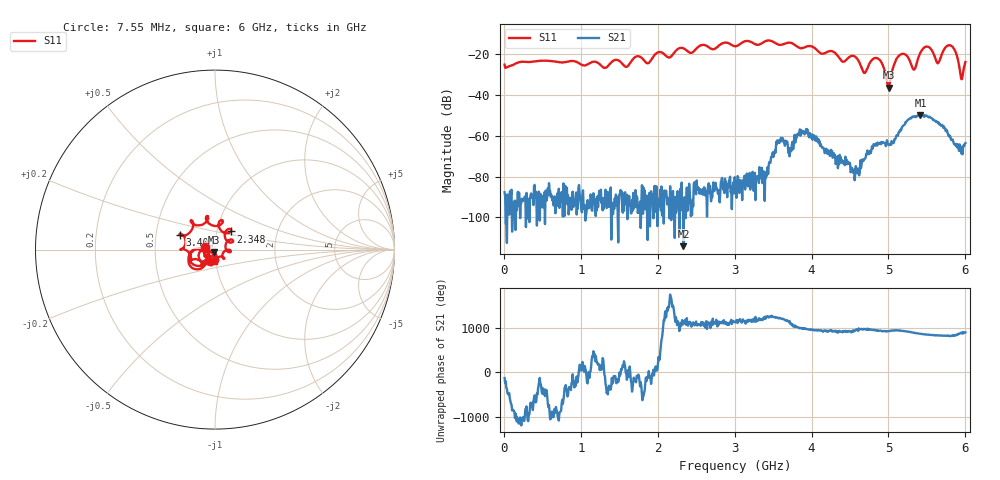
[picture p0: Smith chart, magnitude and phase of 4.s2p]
! NanoVNA-App by OneOfEleven et al v1.1.209 (+OD15)
! Date: 2024-07-30 12:38:55
! Start: 50kHz Stop: 6GHz Points: 801
! S-Parameter data: F S11 S21 S12 S22
# Hz S RI R 50
!  Frequency  S11_Real  S11_Imag  S21_Real  S21_Imag  S12_Real  S12_Imag  S22_Real  S22_Imag
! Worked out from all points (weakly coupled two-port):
!   800 points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, 7.55 MHz to 6 GHz, reference 50 ohm
!   highest |S21| = -49.75 dB at 5.415 GHz (marker M1); lowest = -114.1 dB at 2.333 GHz (marker M2)
!   lowest |S11| = -36.5 dB at 5.003 GHz (marker M3), VSWR 1.03, Z = 49.4 - j1.37 ohm
!   |S11| at or under -10 dB: start of sweep to end of sweep
!   S12 and S22 are empty: the file has one direction only
!   S11 on the Smith chart (normalised r, x): 7.55 MHz: 0.90, +0.03; 2.348 GHz: 1.17, +0.24; 3.405 GHz: 0.67, +0.11; 6 GHz: 0.98, -0.12
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7549938  -0.053 0.0147  -2.58e-05 -3.25e-05  0 0  0 0
1.012542e9  -0.0188 -0.0512  -7.27e-06 1.13e-05  0 0  0 0
2.010033e9  0.0984 0.0532  2.08e-05 -3.93e-06  0 0  0 0
2.332531e9  0.0905 0.1058  1.96e-06 2.55e-07  0 0  0 0
2.34753e9  0.0888 0.101  1.65e-05 2.63e-05  0 0  0 0
3.007525e9  -0.0653 0.1418  3.21e-05 3.59e-05  0 0  0 0
3.405022e9  -0.194 0.0793  -6.75e-05 6.42e-05  0 0  0 0
3.57002e9  -0.1645 0.046  -0.000496 0.000444  0 0  0 0
3.727519e9  -0.1906 0.00207  0.00037 0.000237  0 0  0 0
3.840018e9  -0.1412 -0.0227  0.000129 -0.00113  0 0  0 0
4.005017e9  -0.1396 -0.0636  -0.000474 -0.000971  0 0  0 0
4.590012e9  -0.0379 -0.0683  -6.97e-05 -0.000101  0 0  0 0
4.687511e9  -0.00377 -0.0344  -5.02e-05 -0.000263  0 0  0 0
4.867509e9  -0.0324 -0.0696  -0.000498 -0.000376  0 0  0 0
5.002508e9  -0.00569 -0.0139  -0.000518 -0.000326  0 0  0 0
5.137507e9  -0.0428 -0.0814  -0.000914 -0.000805  0 0  0 0
5.332506e9  -0.0351 -0.0225  -0.00291 0.00034  0 0  0 0
5.415005e9  -0.0655 -0.0865  -0.00288 0.00152  0 0  0 0
5.647503e9  -0.0509 -0.0328  -0.00087 0.00199  0 0  0 0
5.805002e9  -0.1469 -0.0717  -0.000148 0.000952  0 0  0 0
5.9475e9  -0.0203 -0.0136  -0.000359 9.09e-05  0 0  0 0
6e9  -0.00582 -0.0634  -0.000661 -2.13e-05  0 0  0 0
